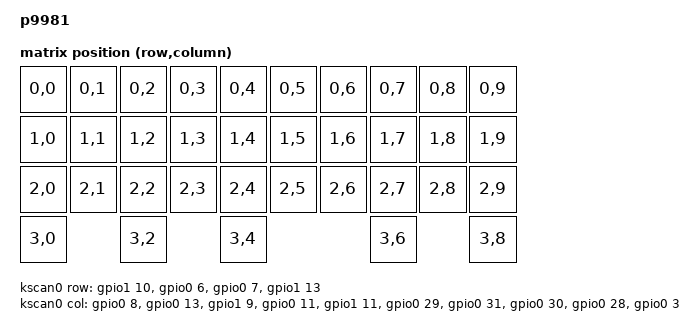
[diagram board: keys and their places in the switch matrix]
/*
 * Copyright (c) 2023 ZitaoTech
 *
 * SPDX-License-Identifier: MIT
 */

/dts-v1/;
#include <nordic/nrf52840_qiaa.dtsi>

#include <dt-bindings/led/led.h>
#include <dt-bindings/zmk/matrix_transform.h>
#include "p9981-pinctrl.dtsi"
#include "p9981-layouts.dtsi"

/ {
    model = "p9981";
    compatible = "ZitaoTech,p9981";

    chosen {
        zephyr,code-partition = &code_partition;
        zephyr,sram = &sram0;
        zephyr,flash = &flash0;
        zephyr,console = &cdc_acm_uart;
        zmk,battery = &vbatt;
        zmk,kscan = &kscan0;
        zmk,physical-layouts = &p9981_layout;
        zmk,keyboard_backlight = &keyboard_backlight;
        zmk,backlight = &backlight;
        zmk,underglow = &led_strip;
        zmk,studio-rpc-uart = &cdc_acm_uart; // ✅ 这是正确的 UART 设备引用
    };

    keyboard_backlight: pwmledfo{
        compatible = "pwm-leds";
        pwm_led_0 {
            pwms = <&pwm1 0 PWM_USEC(20) PWM_POLARITY_NORMAL>;
        };
    };

    backlight: pwmleds {
        compatible = "pwm-leds";
        pwm_led_0 {
            pwms = <&pwm0 0 PWM_MSEC(10) PWM_POLARITY_NORMAL>;
        };
    };

    default_transform: keymap_transform_0 {
        compatible = "zmk,matrix-transform";
        columns = <10>;
        rows = <4>;
        map = <
RC(0,0)  RC(0,1) RC(0,2) RC(0,3) RC(0,4) RC(0,5) RC(0,6) RC(0,7) RC(0,8)  RC(0,9)
RC(1,0)  RC(1,1) RC(1,2) RC(1,3) RC(1,4) RC(1,5) RC(1,6) RC(1,7) RC(1,8)  RC(1,9)
RC(2,0)  RC(2,1) RC(2,2) RC(2,3) RC(2,4) RC(2,5) RC(2,6) RC(2,7) RC(2,8)  RC(2,9)
RC(3,0)          RC(3,2)             RC(3,4)             RC(3,6)          RC(3,8)
        >;
    };

    kscan0: kscan {
        compatible = "zmk,kscan-gpio-matrix";
        diode-direction = "col2row";
        row-gpios
            = <&gpio1 10 (GPIO_ACTIVE_HIGH | GPIO_PULL_DOWN)>
            , <&gpio0 6  (GPIO_ACTIVE_HIGH | GPIO_PULL_DOWN)>
            , <&gpio0 7 (GPIO_ACTIVE_HIGH | GPIO_PULL_DOWN)>
            , <&gpio1 13  (GPIO_ACTIVE_HIGH | GPIO_PULL_DOWN)>
            ;
        col-gpios
            = <&gpio0 8  GPIO_ACTIVE_HIGH>
            , <&gpio0 13 GPIO_ACTIVE_HIGH>
            , <&gpio1 9  GPIO_ACTIVE_HIGH>
            , <&gpio0 11 GPIO_ACTIVE_HIGH>
            , <&gpio1 11 GPIO_ACTIVE_HIGH>
            , <&gpio0 29 GPIO_ACTIVE_HIGH>
            , <&gpio0 31 GPIO_ACTIVE_HIGH>
            , <&gpio0 30 GPIO_ACTIVE_HIGH>
            , <&gpio0 28 GPIO_ACTIVE_HIGH>
            , <&gpio0 3 GPIO_ACTIVE_HIGH>
            ;
    };

    leds {
        compatible = "gpio-leds";
        blue_led: led_0 {
            gpios = <&gpio0 10 GPIO_ACTIVE_HIGH>;
        };
    };

    // Node name must match original "EXT_POWER" label to preserve user settings.
    vbatt: vbatt {
        compatible = "zmk,battery-voltage-divider";
        io-channels = <&adc 2>;
        output-ohms = <2000000>;
        full-ohms = <2820000>;  // 2000000 + 820000
    };
};

&adc {
    status = "okay";
};

&gpiote {
    status = "okay";
};

&gpio0 {
    status = "okay";
};

&gpio1 {
    status = "okay";
};

&pwm0 {
    status = "okay";
    pinctrl-0 = <&pwm0_default>;
    pinctrl-1 = <&pwm0_sleep>;
    pinctrl-names = "default", "sleep";
};

&pwm1 {
    status = "okay";
    pinctrl-0 = <&pwm1_default>;
    pinctrl-1 = <&pwm1_sleep>;
    pinctrl-names = "default", "sleep";
};




&usbd {
    status = "okay";
    cdc_acm_uart: cdc_acm_uart {
        compatible = "zephyr,cdc-acm-uart";
    };
};

&p9981_layout{
	transform = <&default_transform>;
	kscan = <&kscan0>;
}; 

zephyr_udc0: &usbd { 
    compatible = "nordic,nrf-usbd"; 
    status = "okay"; 
};

&spi3 {
    compatible = "nordic,nrf-spim";
    status = "okay";

    pinctrl-0 = <&spi3_default>;
    pinctrl-1 = <&spi3_sleep>;
    pinctrl-names = "default", "sleep";

    led_strip: ws2812@0 {
        compatible = "worldsemi,ws2812-spi";
        /* SPI */
        reg = <0>; /* ignored, but necessary for SPI bindings */
        spi-max-frequency = <400000>;
        /* WS2812 */
        chain-length = <1>; /* number of LEDs */
        spi-one-frame = <0x70>;
        spi-zero-frame = <0x40>;
        color-mapping = <LED_COLOR_ID_GREEN
                         LED_COLOR_ID_RED
                         LED_COLOR_ID_BLUE>;
    };
};

&flash0 {
    /*
     * For more information, see:
     * http://docs.zephyrproject.org/latest/devices/dts/flash_partitions.html
     */
    partitions {
        compatible = "fixed-partitions";
        #address-cells = <1>;
        #size-cells = <1>;

        sd_partition: partition@0 {
            reg = <0x00000000 0x00001000>;
        };

        code_partition: partition@1000 {
            reg = <0x00001000 0x000d3000>;
        };

        /*
         * The flash starting at 0x000d4000 and ending at
         * 0x000f3fff is reserved for use by the application.
         */

        /*
         * Storage partition will be used by FCB/LittleFS/NVS
         * if enabled.
         */
        storage_partition: partition@d4000 {
            reg = <0x000d4000 0x00020000>;
        };

        boot_partition: partition@f4000 {
            reg = <0x000f4000 0x0000c000>;
        };
    };
};
